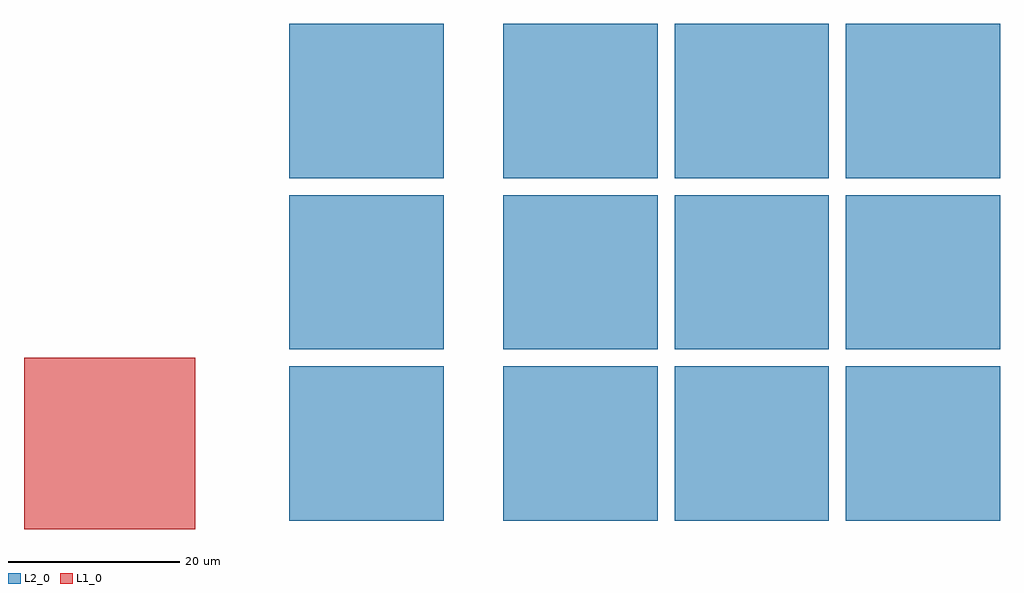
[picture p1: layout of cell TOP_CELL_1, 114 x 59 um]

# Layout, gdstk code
import gdstk
lib = gdstk.Library(unit=1e-6, precision=1e-09)
def R(c, l, rs):  # rectangles x0, y0, x1, y1
    for r in rs: c.add(gdstk.rectangle(r[:2], r[2:], *l))
L1_0 = (1, 0)
L2_0 = (2, 0)

child_cell_1 = lib.new_cell('CHILD_CELL_1')
R(child_cell_1, L2_0, [(-9,-9,9,9)])

top_cell_1 = lib.new_cell('TOP_CELL_1')
R(top_cell_1, L1_0, [(-10,-10,10,10)])
top_cell_1.add(gdstk.Reference(child_cell_1, (30,0)))
r = gdstk.Reference(child_cell_1, (55,0)); r.repetition = gdstk.Repetition(3, 3, v1=(20,0), v2=(0,20)); top_cell_1.add(r)
top_cell_1.add(gdstk.Reference(child_cell_1, (30,20)))
top_cell_1.add(gdstk.Reference(child_cell_1, (30,40)))

lib.write_gds('TOP_CELL_1.gds')
